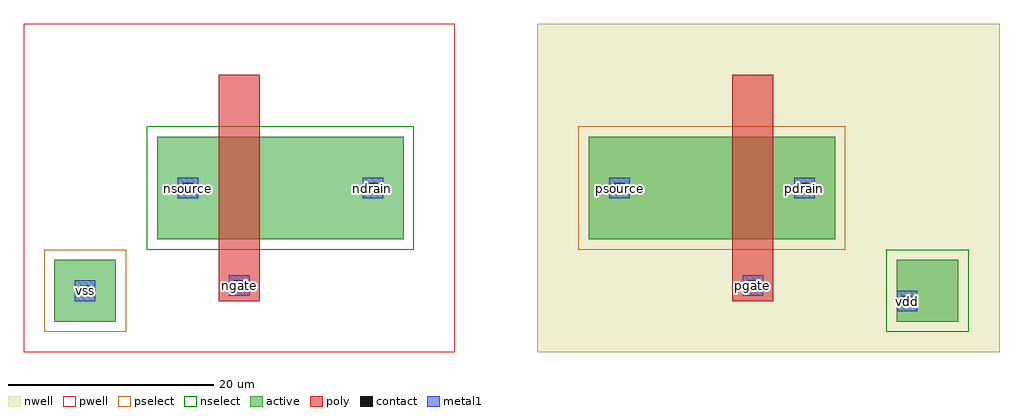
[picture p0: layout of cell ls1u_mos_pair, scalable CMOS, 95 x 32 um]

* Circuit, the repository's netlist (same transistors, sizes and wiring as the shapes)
* Canonical topology and extracted-device geometry target for common/tests/magic/ls1u_mos_pair.gds.
* The native LS1u LVS deck emits primitive n/p device classes for Netgen.
.SUBCKT ls1u_mos_pair ngate pgate nsource ndrain psource pdrain vdd vss
M0 ndrain ngate nsource vss LV1UNMOS L=4u W=10u
M1 pdrain pgate psource vdd LV1UPMOS L=4u W=10u
.ENDS ls1u_mos_pair

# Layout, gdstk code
import gdstk
lib = gdstk.Library(unit=1e-6, precision=1e-09)
def R(c, l, rs):  # rectangles x0, y0, x1, y1
    for r in rs: c.add(gdstk.rectangle(r[:2], r[2:], *l))
contact = (25, 0)
pwell = (41, 0)
nwell = (42, 0)
active = (43, 0)
pselect = (44, 0)
nselect = (45, 0)
poly = (46, 0)
metal1 = (49, 0)

ls1u_mos_pair = lib.new_cell('ls1u_mos_pair')
R(ls1u_mos_pair, contact, [(84.5,3.5,85.5,4.5), (4.5,4.5,5.5,5.5), (19.5,5,20.5,6), (69.5,5,70.5,6), (14.5,14.5,15.5,15.5), (32.5,14.5,33.5,15.5), (56.5,14.5,57.5,15.5), (74.5,14.5,75.5,15.5)])
R(ls1u_mos_pair, pwell, [(-1,-1,41,31)])
R(ls1u_mos_pair, nwell, [(49,-1,94,31)])
R(ls1u_mos_pair, active, [(2,2,8,8), (84,2,90,8), (12,10,36,20), (54,10,78,20)])
R(ls1u_mos_pair, pselect, [(1,1,9,9), (53,9,79,21)])
R(ls1u_mos_pair, nselect, [(83,1,91,9), (11,9,37,21)])
R(ls1u_mos_pair, poly, [(18,4,22,26), (68,4,72,26)])
R(ls1u_mos_pair, metal1, [(84,3,86,5), (4,4,6,6), (19,4.5,21,6.5), (69,4.5,71,6.5), (14,14,16,16), (32,14,34,16), (56,14,58,16), (74,14,76,16)])
ls1u_mos_pair.add(gdstk.Label('nsource', (15,15), layer=49, texttype=0))
ls1u_mos_pair.add(gdstk.Label('ndrain', (33,15), layer=49, texttype=0))
ls1u_mos_pair.add(gdstk.Label('ngate', (20,5.5), layer=46, texttype=0))
ls1u_mos_pair.add(gdstk.Label('vss', (5,5), layer=49, texttype=0))
ls1u_mos_pair.add(gdstk.Label('psource', (57,15), layer=49, texttype=0))
ls1u_mos_pair.add(gdstk.Label('pdrain', (75,15), layer=49, texttype=0))
ls1u_mos_pair.add(gdstk.Label('pgate', (70,5.5), layer=46, texttype=0))
ls1u_mos_pair.add(gdstk.Label('vdd', (85,4), layer=49, texttype=0))

lib.write_gds('ls1u_mos_pair.gds')
